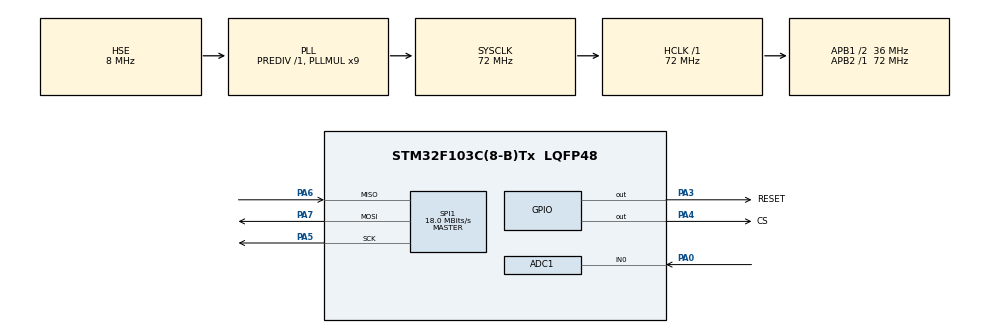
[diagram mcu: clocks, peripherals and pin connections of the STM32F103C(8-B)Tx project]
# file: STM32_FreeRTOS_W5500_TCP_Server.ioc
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ADC1.Channel-0\#ChannelRegularConversion=ADC_CHANNEL_0
ADC1.NbrOfConversionFlag=1
ADC1.Rank-0\#ChannelRegularConversion=1
ADC1.SamplingTime-0\#ChannelRegularConversion=ADC_SAMPLETIME_55CYCLES_5
ADC1.master=1
FREERTOS.Tasks01=TcpReceiveTask,24,512,StartTcpReceiveTask,Default,NULL,Dynamic,NULL,NULL;LedControlTask,25,512,StartLedControlTask,Default,NULL,Dynamic,NULL,NULL
FREERTOS.configTOTAL_HEAP_SIZE=5000
FREERTOS.configUSE_NEWLIB_REENTRANT=1
Mcu.Family=STM32F1
Mcu.Name=STM32F103C(8-B)Tx
Mcu.Package=LQFP48
NVIC.PriorityGroup=NVIC_PRIORITYGROUP_4
NVIC.TIM2_IRQn=true\:15\:0\:false\:false\:true\:false\:false\:true\:true
NVIC.TimeBase=TIM2_IRQn
NVIC.TimeBaseIP=TIM2
PA0-WKUP.Signal=ADCx_IN0
PA13.Mode=Serial_Wire
PA13.Signal=SYS_JTMS-SWDIO
PA14.Mode=Serial_Wire
PA14.Signal=SYS_JTCK-SWCLK
PA3.GPIO_Label=RESET
PA3.Signal=GPIO_Output
PA4.GPIO_Label=CS
PA4.Signal=GPIO_Output
PA5.Mode=Full_Duplex_Master
PA5.Signal=SPI1_SCK
PA6.Mode=Full_Duplex_Master
PA6.Signal=SPI1_MISO
PA7.Mode=Full_Duplex_Master
PA7.Signal=SPI1_MOSI
PD0-OSC_IN.Mode=HSE-External-Oscillator
PD0-OSC_IN.Signal=RCC_OSC_IN
PD1-OSC_OUT.Mode=HSE-External-Oscillator
PD1-OSC_OUT.Signal=RCC_OSC_OUT
ProjectManager.HeapSize=0x200
ProjectManager.StackSize=0x400
ProjectManager.TargetToolchain=STM32CubeIDE
RCC.ADCPresc=RCC_ADCPCLK2_DIV6
RCC.AHBFreq_Value=72000000
RCC.APB1CLKDivider=RCC_HCLK_DIV2
RCC.APB1Freq_Value=36000000
RCC.APB1TimFreq_Value=72000000
RCC.APB2Freq_Value=72000000
RCC.APB2TimFreq_Value=72000000
RCC.HCLKFreq_Value=72000000
RCC.PLLMUL=RCC_PLL_MUL9
RCC.PLLSourceVirtual=RCC_PLLSOURCE_HSE
RCC.SYSCLKFreq_VALUE=72000000
RCC.SYSCLKSource=RCC_SYSCLKSOURCE_PLLCLK
RCC.USBFreq_Value=72000000
SH.ADCx_IN0.0=ADC1_IN0,IN0
SPI1.BaudRatePrescaler=SPI_BAUDRATEPRESCALER_4
SPI1.CalculateBaudRate=18.0 MBits/s
SPI1.Direction=SPI_DIRECTION_2LINES
SPI1.Mode=SPI_MODE_MASTER
SPI1.VirtualType=VM_MASTER
VP_FREERTOS_VS_CMSIS_V2.Mode=CMSIS_V2
VP_SYS_VS_tim2.Mode=TIM2
board=custom

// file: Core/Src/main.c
/* USER CODE BEGIN Header */
/**
 ******************************************************************************
 * @file           : main.c
 * @brief          : Main program body
 ******************************************************************************
 * @attention
 *
 * Copyright (c) 2026 STMicroelectronics.
 * All rights reserved.
 *
 * This software is licensed under terms that can be found in the LICENSE file
 * in the root directory of this software component.
 * If no LICENSE file comes with this software, it is provided AS-IS.
 *
 ******************************************************************************
 */
/* USER CODE END Header */
#include "main.h"
#include "cmsis_os.h"

/* USER CODE BEGIN Includes */
#include "wizchip_port.h"
#include "usart1.h"
#include "socket.h"
#include "wizchip_conf.h"
#include "gpio.h"
#include "string.h"
#include "mq2_sensor.h"
#include <stdio.h>
#include "string.h"
/* USER CODE END Includes */

/* USER CODE BEGIN PTD */
#define TCP_SERVER_SOCKET   0
#define TCP_SERVER_PORT     5000
#define BUFFER_SIZE 256
/* USER CODE END PTD */

ADC_HandleTypeDef hadc1;

SPI_HandleTypeDef hspi1;

/* Definitions for TcpReceiveTask */
osThreadId_t TcpReceiveTaskHandle;
const osThreadAttr_t TcpReceiveTask_attributes = {.name = "TcpReceiveTask", .stack_size = 512 * 4, .priority =
    (osPriority_t) osPriorityNormal, };

/* Definitions for LedControlTask */
osThreadId_t LedControlTaskHandle;
const osThreadAttr_t LedControlTask_attributes = {.name = "LedControlTask", .stack_size = 256 * 4, .priority =
    (osPriority_t) osPriorityNormal1, };

/* Definitions for SensorTask */
osThreadId_t SensorTaskHandle;
const osThreadAttr_t SensorTask_attributes = {.name = "SensorTask", .stack_size = 256 * 4, .priority =
    (osPriority_t) osPriorityNormal2, };

/* USER CODE BEGIN PV */

osMessageQueueId_t SensorDataQueue;
uint8_t periodic_send_enabled = 1;
uint8_t led_current_state = 0;  // 0 = OFF, 1 = ON

/* USER CODE END PV */

void SystemClock_Config(void);
static void MX_GPIO_Init(void);
static void MX_SPI1_Init(void);
static void MX_ADC1_Init(void);
void StartTcpReceiveTask(void *argument);
void StartLedControlTask(void *argument);
void StartSensorTask(void *argument);

int main(void)
{

  /* MCU Configuration--------------------------------------------------------*/

  /* Reset of all peripherals, Initializes the Flash interface and the Systick. */
  HAL_Init();

  /* Configure the system clock */
  SystemClock_Config();

  /* Initialize all configured peripherals */
  MX_GPIO_Init();
  MX_SPI1_Init();
  MX_ADC1_Init();
  /* USER CODE BEGIN 2 */

  /* USER CODE BEGIN 2 */
  USART1_Init();

  /* Initialize MQ-2 Sensor */
  if(MQ2_Init(&hadc1) != HAL_OK)
  {
    USART1_SendString("\r\nMQ-2 Init FAILED!\r\n");
    Error_Handler();
  }
  USART1_SendString("\r\nMQ-2 Sensor Initialized\r\n");

  /* Initialize W5500 */
  USART1_SendString("\r\n=== Starting TCP Server ===\r\n");
  if(W5500_Init() != 0)
  {
    Error_Handler();
  }

  // Create socket
  if(socket(TCP_SERVER_SOCKET, Sn_MR_TCP, TCP_SERVER_PORT, 0) != TCP_SERVER_SOCKET)
  {
    USART1_SendString("Socket open failed\r\n");
  }

  // Start listening
  if(listen(TCP_SERVER_SOCKET) != SOCK_OK)
  {
    USART1_SendString("Listen failed\r\n");
    close(TCP_SERVER_SOCKET);
  }

  USART1_SendString("TCP Server on port ");
  USART1_SendNumber(TCP_SERVER_PORT);
  USART1_SendString("\r\n");
  USART1_SendString("Commands: ON, OFF, TOGGLE, STATUS, GAS, START, STOP, STATUS, HELP\r\n");

  /* Initialize LED */
  LED_init();
  LED_OFF();

  /* USER CODE END 2 */

  /* Init scheduler */
  osKernelInitialize();

  /* USER CODE BEGIN RTOS_QUEUES */
  SensorDataQueue = osMessageQueueNew(5, sizeof(float), NULL);
  /* USER CODE END RTOS_QUEUES */

  /* Create the thread(s) */
  /* creation of TcpReceiveTask */
  TcpReceiveTaskHandle = osThreadNew(StartTcpReceiveTask, NULL, &TcpReceiveTask_attributes);

  /* creation of LedControlTask */
  LedControlTaskHandle = osThreadNew(StartLedControlTask, NULL, &LedControlTask_attributes);

  SensorTaskHandle = osThreadNew(StartSensorTask, NULL, &SensorTask_attributes);

  /* Start scheduler */
  osKernelStart();

  /* We should never get here as control is now taken by the scheduler */

  /* Infinite loop */
  while(1)
  {

  }
}

void SystemClock_Config(void)
{
  RCC_OscInitTypeDef RCC_OscInitStruct = {0};
  RCC_ClkInitTypeDef RCC_ClkInitStruct = {0};
  RCC_PeriphCLKInitTypeDef PeriphClkInit = {0};

  /** Initializes the RCC Oscillators according to the specified parameters
   * in the RCC_OscInitTypeDef structure.
   */
  RCC_OscInitStruct.OscillatorType = RCC_OSCILLATORTYPE_HSE;
  RCC_OscInitStruct.HSEState = RCC_HSE_ON;
  RCC_OscInitStruct.HSEPredivValue = RCC_HSE_PREDIV_DIV1;
  RCC_OscInitStruct.HSIState = RCC_HSI_ON;
  RCC_OscInitStruct.PLL.PLLState = RCC_PLL_ON;
  RCC_OscInitStruct.PLL.PLLSource = RCC_PLLSOURCE_HSE;
  RCC_OscInitStruct.PLL.PLLMUL = RCC_PLL_MUL9;
  if(HAL_RCC_OscConfig(&RCC_OscInitStruct) != HAL_OK)
  {
    Error_Handler();
  }

  /** Initializes the CPU, AHB and APB buses clocks
   */
  RCC_ClkInitStruct.ClockType = RCC_CLOCKTYPE_HCLK | RCC_CLOCKTYPE_SYSCLK | RCC_CLOCKTYPE_PCLK1 | RCC_CLOCKTYPE_PCLK2;
  RCC_ClkInitStruct.SYSCLKSource = RCC_SYSCLKSOURCE_PLLCLK;
  RCC_ClkInitStruct.AHBCLKDivider = RCC_SYSCLK_DIV1;
  RCC_ClkInitStruct.APB1CLKDivider = RCC_HCLK_DIV2;
  RCC_ClkInitStruct.APB2CLKDivider = RCC_HCLK_DIV1;

  if(HAL_RCC_ClockConfig(&RCC_ClkInitStruct, FLASH_LATENCY_2) != HAL_OK)
  {
    Error_Handler();
  }
  PeriphClkInit.PeriphClockSelection = RCC_PERIPHCLK_ADC;
  PeriphClkInit.AdcClockSelection = RCC_ADCPCLK2_DIV6;
  if(HAL_RCCEx_PeriphCLKConfig(&PeriphClkInit) != HAL_OK)
  {
    Error_Handler();
  }
}

static void MX_ADC1_Init(void)
{

  ADC_ChannelConfTypeDef sConfig = {0};

  /** Common config
   */
  hadc1.Instance = ADC1;
  hadc1.Init.ScanConvMode = ADC_SCAN_DISABLE;
  hadc1.Init.ContinuousConvMode = DISABLE;
  hadc1.Init.DiscontinuousConvMode = DISABLE;
  hadc1.Init.ExternalTrigConv = ADC_SOFTWARE_START;
  hadc1.Init.DataAlign = ADC_DATAALIGN_RIGHT;
  hadc1.Init.NbrOfConversion = 1;
  if(HAL_ADC_Init(&hadc1) != HAL_OK)
  {
    Error_Handler();
  }

  /** Configure Regular Channel
   */
  sConfig.Channel = ADC_CHANNEL_0;
  sConfig.Rank = ADC_REGULAR_RANK_1;
  sConfig.SamplingTime = ADC_SAMPLETIME_55CYCLES_5;
  if(HAL_ADC_ConfigChannel(&hadc1, &sConfig) != HAL_OK)
  {
    Error_Handler();
  }

}

static void MX_SPI1_Init(void)
{

  /* SPI1 parameter configuration*/
  hspi1.Instance = SPI1;
  hspi1.Init.Mode = SPI_MODE_MASTER;
  hspi1.Init.Direction = SPI_DIRECTION_2LINES;
  hspi1.Init.DataSize = SPI_DATASIZE_8BIT;
  hspi1.Init.CLKPolarity = SPI_POLARITY_LOW;
  hspi1.Init.CLKPhase = SPI_PHASE_1EDGE;
  hspi1.Init.NSS = SPI_NSS_SOFT;
  hspi1.Init.BaudRatePrescaler = SPI_BAUDRATEPRESCALER_4;
  hspi1.Init.FirstBit = SPI_FIRSTBIT_MSB;
  hspi1.Init.TIMode = SPI_TIMODE_DISABLE;
  hspi1.Init.CRCCalculation = SPI_CRCCALCULATION_DISABLE;
  hspi1.Init.CRCPolynomial = 10;
  if(HAL_SPI_Init(&hspi1) != HAL_OK)
  {
    Error_Handler();
  }

}

static void MX_GPIO_Init(void)
{
  GPIO_InitTypeDef GPIO_InitStruct = {0};

  /* GPIO Ports Clock Enable */
  __HAL_RCC_GPIOD_CLK_ENABLE();
  __HAL_RCC_GPIOA_CLK_ENABLE();

  /*Configure GPIO pin Output Level */
  HAL_GPIO_WritePin(GPIOA, RESET_Pin | CS_Pin, GPIO_PIN_RESET);

  /*Configure GPIO pins : RESET_Pin CS_Pin */
  GPIO_InitStruct.Pin = RESET_Pin | CS_Pin;
  GPIO_InitStruct.Mode = GPIO_MODE_OUTPUT_PP;
  GPIO_InitStruct.Pull = GPIO_NOPULL;
  GPIO_InitStruct.Speed = GPIO_SPEED_FREQ_LOW;
  HAL_GPIO_Init(GPIOA, &GPIO_InitStruct);

}

/* USER CODE BEGIN 4 */

/* Sensor Task - reads and prints sensor data every 2 seconds */
void StartSensorTask(void *argument)
{
  char msg[100];
  TickType_t last_wake_time = xTaskGetTickCount();
  const TickType_t period = pdMS_TO_TICKS(2000);

  /* External flag to control periodic sending */
  extern uint8_t periodic_send_enabled;

  for(;;)
  {
    float voltage = MQ2_GetVoltage();
    float ppm = MQ2_GetPPM();
    const char *level = MQ2_GetLevelString();

    sprintf(msg, "%.2f,%.0f,%s\r\n", voltage, ppm, level); /* CSV format */

    /* Send to TCP client only if enabled and connected */
    if(periodic_send_enabled && getSn_SR(TCP_SERVER_SOCKET) == SOCK_ESTABLISHED)
    {
      send(TCP_SERVER_SOCKET, (uint8_t*) msg, strlen(msg));
    }

    vTaskDelayUntil(&last_wake_time, period);
  }
}
/* USER CODE END 4 */

void StartTcpReceiveTask(void *argument)
{
  uint16_t available_data = 0;
  uint8_t buffer[256];
  char response[150];
  extern uint8_t periodic_send_enabled;
  extern uint8_t led_current_state;

  for(;;)
  {
    uint8_t status = getSn_SR(TCP_SERVER_SOCKET);
    switch(status)
    {
      case SOCK_ESTABLISHED:
        available_data = getSn_RX_RSR(TCP_SERVER_SOCKET);

        if(available_data > 0)
        {
          int32_t ret = recv(TCP_SERVER_SOCKET, buffer, (available_data < BUFFER_SIZE) ? available_data : BUFFER_SIZE);

          if(ret > 0)
          {
            buffer[ret] = '\0';

            // Remove newline characters
            for(int i = 0; i < ret; i++)
            {
              if(buffer[i] == '\n' || buffer[i] == '\r')
              {
                buffer[i] = '\0';
                break;
              }
            }

            // LED Control
            if(strncmp((char*) buffer, "ON", 2) == 0 || strncmp((char*) buffer, "on", 2) == 0)
            {
              osThreadFlagsSet(LedControlTaskHandle, 0x01);
              send(TCP_SERVER_SOCKET, (uint8_t*) "LED ON\r\n", 8);
            }
            else if(strncmp((char*) buffer, "OFF", 3) == 0 || strncmp((char*) buffer, "off", 3) == 0)
            {
              osThreadFlagsSet(LedControlTaskHandle, 0x02);
              send(TCP_SERVER_SOCKET, (uint8_t*) "LED OFF\r\n", 9);
            }
            // TOGGLE COMMAND
            else if(strncmp((char*) buffer, "TOGGLE", 6) == 0 || strncmp((char*) buffer, "toggle", 6) == 0)
            {
              osThreadFlagsSet(LedControlTaskHandle, 0x03);
              send(TCP_SERVER_SOCKET, (uint8_t*) "LED TOGGLED\r\n", 14);
            }
            // LED STATUS COMMAND
            else if(strncmp((char*) buffer, "STATUS", 6) == 0 || strncmp((char*) buffer, "status", 6) == 0)
            {
              sprintf(response, "LED is %s\r\n", led_current_state ? "ON" : "OFF");
              send(TCP_SERVER_SOCKET, (uint8_t*) response, strlen(response));
            }
            // Periodic control
            else if(strncmp((char*) buffer, "START", 5) == 0 || strncmp((char*) buffer, "start", 5) == 0)
            {
              periodic_send_enabled = 1;
              send(TCP_SERVER_SOCKET, (uint8_t*) "Auto-send STARTED (every 2 sec)\r\n", 33);
            }
            else if(strncmp((char*) buffer, "STOP", 4) == 0 || strncmp((char*) buffer, "stop", 4) == 0)
            {
              periodic_send_enabled = 0;
              send(TCP_SERVER_SOCKET, (uint8_t*) "Auto-send STOPPED\r\n", 20);
            }
            // Get single reading
            else if(strncmp((char*) buffer, "GAS", 3) == 0 || strncmp((char*) buffer, "gas", 3) == 0)
            {
              float voltage = MQ2_GetVoltage();
              float ppm = MQ2_GetPPM();
              const char *level = MQ2_GetLevelString();

              sprintf(response, "Gas: %.2fV | %.0fppm | %s\r\n", voltage, ppm, level);
              send(TCP_SERVER_SOCKET, (uint8_t*) response, strlen(response));
            }
            // Help
            else if(strncmp((char*) buffer, "HELP", 4) == 0 || strncmp((char*) buffer, "help", 4) == 0)
            {
              const char *help = "Commands:\r\n"
                  "  ON/OFF/TOGGLE - Control LED\r\n"
                  "  STATUS        - Show LED state\r\n"
                  "  GAS           - Get one gas reading\r\n"
                  "  START         - Start periodic sending (2 sec)\r\n"
                  "  STOP          - Stop periodic sending\r\n"
                  "  HELP          - Show this help\r\n";
              send(TCP_SERVER_SOCKET, (uint8_t*) help, strlen(help));
            }

          }
        }
        break;

      case SOCK_CLOSE_WAIT:
        USART1_SendString("Client disconnected\r\n");
        disconnect(TCP_SERVER_SOCKET);
        break;

      case SOCK_CLOSED:
        USART1_SendString("Waiting for client...\r\n");
        if(socket(TCP_SERVER_SOCKET, Sn_MR_TCP, TCP_SERVER_PORT, 0) == TCP_SERVER_SOCKET)
        {
          listen(TCP_SERVER_SOCKET);
        }
        break;

      default:
        break;
    }

    osDelay(10);
  }
}
/* USER CODE END 5 */

void StartLedControlTask(void *argument)
{
  uint8_t buffer[256];
  extern uint8_t led_current_state;

  for(;;)
  {
    uint32_t flag = osThreadFlagsWait(0x01 | 0x02 | 0x03, osFlagsWaitAny, osWaitForever);

    if(flag == 0x01) // Turn LED ON
    {
      LED_ON();
      led_current_state = 1;  // Update global
      strcpy((char*) buffer, "LED Turned ON\r\n");
      send(TCP_SERVER_SOCKET, buffer, strlen((char*) buffer));
    }
    else if(flag == 0x02) // Turn LED OFF
    {
      LED_OFF();
      led_current_state = 0;  // Update global
      strcpy((char*) buffer, "LED Turned OFF\r\n");
      send(TCP_SERVER_SOCKET, buffer, strlen((char*) buffer));
    }
    else if(flag == 0x03) // TOGGLE LED
    {
      if(led_current_state)
      {
        LED_OFF();
        led_current_state = 0;
        strcpy((char*) buffer, "LED Turned OFF\r\n");
      }
      else
      {
        LED_ON();
        led_current_state = 1;
        strcpy((char*) buffer, "LED Turned ON\r\n");
      }
      send(TCP_SERVER_SOCKET, buffer, strlen((char*) buffer));
    }
    osDelay(1);
  }
}

void HAL_TIM_PeriodElapsedCallback(TIM_HandleTypeDef *htim)
{
  if(htim->Instance == TIM2)
  {
    HAL_IncTick();
  }
}

void Error_Handler(void)
{
  __disable_irq();
  while(1)
  {
  }
}
